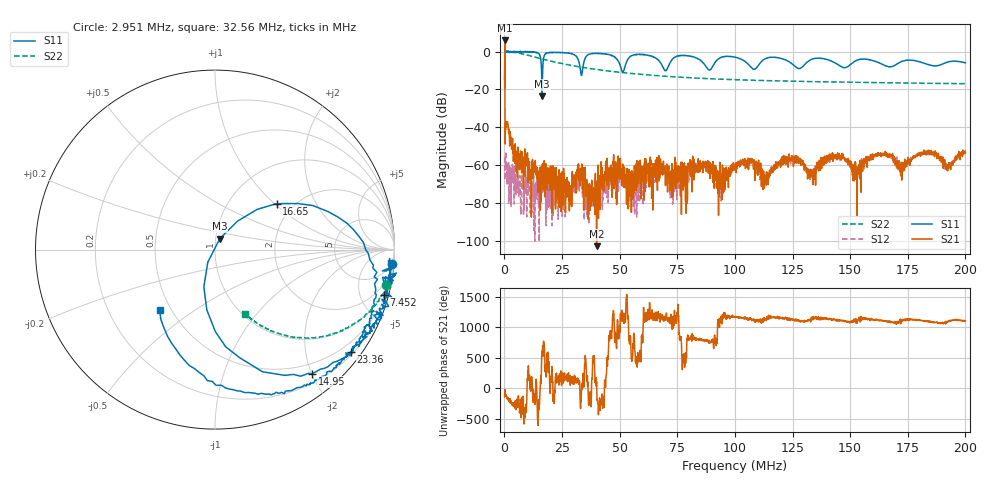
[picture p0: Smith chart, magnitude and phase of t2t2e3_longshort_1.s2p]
! 27-Aug-26 2:23:34 PM
! E:\20260827_VNA\T2T2E3_LONGSHORT_1.S2P
! CHANNEL.1
! TR.MEASUREMENT
! CORRECTED.DATA
# GHZ S RI R 50.0
! FREQ.GHZ  S11RE  S11IM  S21RE  S21IM  S12RE  S12IM  S22RE  S22IM
!; PortSelection: Port_12
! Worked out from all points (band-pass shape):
!   2000 points, 50 kHz to 200 MHz, reference 50 ohm
!   highest |S21| = 5.87 dB at 150 kHz (marker M1); lowest = -102.7 dB at 39.96 MHz (marker M2)
!   |S21| within 3 dB of the highest: 138 kHz to 155.5 kHz (17.49 kHz wide, 11.9 % of centre)
!   lowest |S11| = -23.6 dB at 16.35 MHz (marker M3), VSWR 1.14, Z = 52.3 + j6.33 ohm
!   |S11| at or under -10 dB: 32.99 MHz to 33.84 MHz (855.8 kHz wide, 2.56 % of centre); 50.9 MHz to 51.79 MHz (883 kHz wide, 1.72 % of centre); 69.62 MHz to 70.15 MHz (532.7 kHz wide, 0.762 % of centre)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
!   |S22| runs from -17.0 to 0.1 dB; largest |S21 - S12| = 2
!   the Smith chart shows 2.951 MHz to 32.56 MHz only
!   S11 on the Smith chart (normalised r, x): 2.951 MHz: 3, -25; 7.452 MHz: 0.79, -7.51; 14.95 MHz: 0.33, -2.00; 16.65 MHz: 1.64, +1.03; 23.36 MHz: 0.26, -2.97; 32.56 MHz: 0.43, -0.37
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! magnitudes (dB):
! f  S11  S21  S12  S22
! 50 kHz  -14.7  -19.1  -55.7  -0.1
! 150 kHz  -1.2  5.9  -67.7  0.0
! 2.951 MHz  -0.1  -46.9  -70.8  -0.2
! 7.452 MHz  -0.2  -64.1  -63.8  -1.2
! 14.95 MHz  -1.1  -63.1  -80.7  -3.5
! 16.35 MHz  -23.6  -61.4  -74.3  -3.9
! 16.65 MHz  -7.4  -73.1  -74.1  -4.0
! 23.36 MHz  -0.5  -74.5  -76.3  -5.9
! 32.56 MHz  -6.8  -63.0  -66.5  -8.1
! 33.46 MHz  -12.6  -66.6  -68.4  -8.3
! 39.96 MHz  -1.0  -102.7  -74.7  -9.4
! 51.26 MHz  -10.7  -59.4  -64.4  -11.1
! 54.86 MHz  -2.3  -67.2  -74.1  -11.6
! 66.77 MHz  -4.5  -60.3  -62.9  -12.7
! 73.97 MHz  -3.0  -71.4  -72.7  -13.3
! 86.47 MHz  -6.3  -59.4  -60.0  -14.2
! 93.37 MHz  -3.4  -62.1  -68.9  -14.5
! 100.1 MHz  -2.9  -61.0  -61.2  -14.8
! 133.4 MHz  -4.0  -64.1  -65.4  -15.8
! 166.7 MHz  -8.0  -54.5  -54.5  -16.4
! 172.5 MHz  -5.2  -59.1  -61.4  -16.5
! 200 MHz  -6.0  -53.3  -54.0  -17.0
